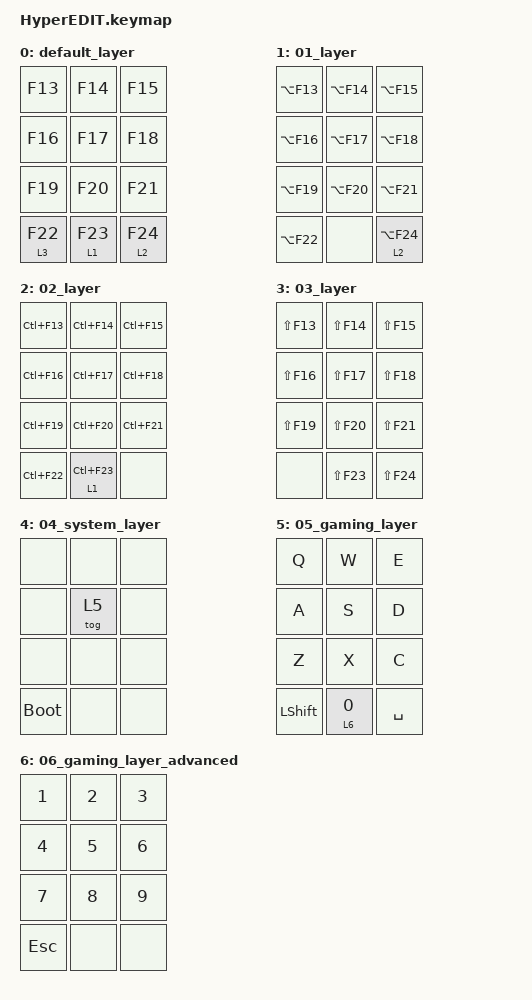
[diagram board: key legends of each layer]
#include <behaviors.dtsi>
#include <dt-bindings/zmk/keys.h>
#include <dt-bindings/zmk/bt.h>
#include <dt-bindings/zmk/outputs.h>

&lt {
	flavor = "hold-preferred";
};

/ {	
	combos {
        compatible = "zmk,combos";
        combo_exit_gaming {
            timeout-ms = <50>;
            key-positions = <4 10 11>;
			layers = <5>;
            bindings = <&tog 5>;
        };
    };

	conditional_layers {
        compatible = "zmk,conditional-layers";
        tri_layer {
            if-layers = <1 2>;
            then-layer = <4>;
        };
    };

	keymap {
		compatible = "zmk,keymap";
		
		default_layer {
			bindings = <
				&kp F13			&kp F14			&kp F15
				&kp F16			&kp F17			&kp F18
				&kp F19			&kp F20			&kp F21
				
				&lt 3 F22		&lt 1 F23		&lt 2 F24
			>;
		};
		
		01_layer {
			bindings = <
				&kp LA(F13)		&kp LA(F14)		&kp LA(F15)
				&kp LA(F16)		&kp LA(F17)		&kp LA(F18)
				&kp LA(F19)		&kp LA(F20)		&kp LA(F21)
				
				&kp LA(F22)		&none 			&lt 2 LA(F24)
			>;
		};
		
		02_layer {
			bindings = <
				&kp LC(F13)		&kp LC(F14)		&kp LC(F15)
				&kp LC(F16)		&kp LC(F17)		&kp LC(F18)
				&kp LC(F19)		&kp LC(F20)		&kp LC(F21)
				
				&kp LC(F22)		&lt 1 LC(F23)	&none
			>;
		};
		
		03_layer {
			bindings = <
				&kp LS(F13)		&kp LS(F14)		&kp LS(F15)
				&kp LS(F16)		&kp LS(F17)		&kp LS(F18)
				&kp LS(F19)		&kp LS(F20)		&kp LS(F21)
				
				&none			&kp LS(F23)		&kp LS(F24)
			>;
		};
		
		04_system_layer {
			bindings = <
				&none			&none			&none
				&none			&tog 5			&none
				&none			&none			&none
				
				&bootloader		&none			&none
			>;
		};

		05_gaming_layer {
			bindings = <
				&kp Q			&kp W			&kp E
				&kp A			&kp S			&kp D
				&kp Z			&kp X			&kp C
				
				&kp LSHIFT		&lt 6 N0		&kp SPACE
			>;
		};

		06_gaming_layer_advanced {
			bindings = <
				&kp N1			&kp N2			&kp N3
				&kp N4			&kp N5			&kp N6
				&kp N7			&kp N8			&kp N9
				
				&kp ESC			&none			&none
			>;
		};
	};
};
